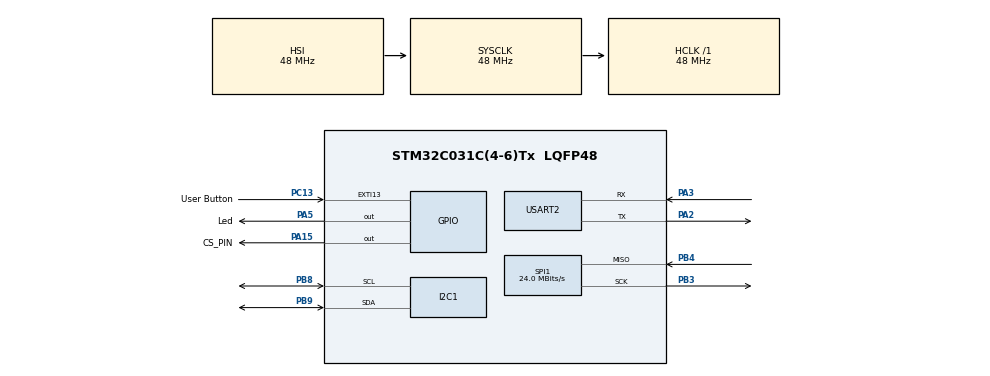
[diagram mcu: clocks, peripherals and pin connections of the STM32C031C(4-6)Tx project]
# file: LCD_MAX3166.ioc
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I2C1.Timing=0x20303E5D
Mcu.Family=STM32C0
Mcu.Name=STM32C031C(4-6)Tx
Mcu.Package=LQFP48
NVIC.EXTI4_15_IRQn=true\:0\:0\:false\:false\:true\:true\:true\:true
PA13.Mode=Serial_Wire
PA13.Signal=DEBUG_SWDIO
PA14-BOOT0.Mode=Serial_Wire
PA14-BOOT0.Signal=DEBUG_SWCLK
PA15.GPIO_Label=CS_PIN
PA15.Signal=GPIO_Output
PA2.Mode=Asynchronous
PA2.Signal=USART2_TX
PA3.Mode=Asynchronous
PA3.Signal=USART2_RX
PA5.GPIO_Label=Led
PA5.GPIO_Speed=GPIO_SPEED_FREQ_VERY_HIGH
PA5.PinState=GPIO_PIN_SET
PA5.Signal=GPIO_Output
PB3.Mode=RX_Only_Simplex_Unidirect_Master
PB3.Signal=SPI1_SCK
PB4.Mode=RX_Only_Simplex_Unidirect_Master
PB4.Signal=SPI1_MISO
PB6.Signal=USART1_TX
PB7.Signal=USART1_RX
PB8.Mode=I2C
PB8.Signal=I2C1_SCL
PB9.Mode=I2C
PB9.Signal=I2C1_SDA
PC13.GPIO_Label=User Button
PC13.Signal=GPXTI13
PC14-OSCX_IN\ (PC14).Mode=LSE-External-Oscillator
PC14-OSCX_IN\ (PC14).Signal=RCC_OSCX_IN
PC15-OSCX_OUT\ (PC15).Mode=LSE-External-Oscillator
PC15-OSCX_OUT\ (PC15).Signal=RCC_OSCX_OUT
PF0-OSC_IN\ (PF0).Mode=HSE-External-Oscillator
PF0-OSC_IN\ (PF0).Signal=RCC_OSC_IN
PF1-OSC_OUT\ (PF1).Mode=HSE-External-Oscillator
PF1-OSC_OUT\ (PF1).Signal=RCC_OSC_OUT
ProjectManager.HeapSize=0x200
ProjectManager.StackSize=0x400
ProjectManager.TargetToolchain=STM32CubeIDE
RCC.ADCFreq_Value=48000000
RCC.AHBFreq_Value=48000000
RCC.CortexFreq_Value=48000000
RCC.EXTERNAL_CLOCK_VALUE=12288000
RCC.HCLKFreq_Value=48000000
RCC.HSE_VALUE=48000000
RCC.HSISYSCLKDivider=RCC_HSI_DIV1
RCC.HSI_VALUE=48000000
RCC.SYSCLKFreq_VALUE=48000000
SPI1.CalculateBaudRate=24.0 MBits/s
SPI1.Direction=SPI_DIRECTION_2LINES_RXONLY
SPI1.Mode=SPI_MODE_MASTER
SPI1.VirtualType=VM_MASTER
USART2.VirtualMode-Asynchronous=VM_ASYNC
board=NUCLEO-C031C6

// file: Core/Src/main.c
/* USER CODE BEGIN Header */
/**
  ******************************************************************************
  * @file           : main.c
  * @brief          : Main program body
  ******************************************************************************
  * @attention
  *
  * Copyright (c) 2024 STMicroelectronics.
  * All rights reserved.
  *
  * This software is licensed under terms that can be found in the LICENSE file
  * in the root directory of this software component.
  * If no LICENSE file comes with this software, it is provided AS-IS.
  *
  ******************************************************************************
  */
/* USER CODE END Header */
#include "main.h"

/* USER CODE BEGIN Includes */
#include <string.h>
#include <stdio.h>
#include "LCD_I2C.h"
#include "MAX31855.h"

/* USER CODE END Includes */

/* USER CODE BEGIN PD */
#define LCD_ADDRESS 0x20
#define MAX_LENGTH 25
/* USER CODE END PD */

I2C_HandleTypeDef hi2c1;

SPI_HandleTypeDef hspi1;

UART_HandleTypeDef huart2;

/* USER CODE BEGIN PV */
MAX31855_HandleTypeDef max31855;
LCD_HandleTypeDef hlcd;

/* USER CODE END PV */

void SystemClock_Config(void);
static void MX_GPIO_Init(void);
static void MX_I2C1_Init(void);
static void MX_SPI1_Init(void);
static void MX_USART2_UART_Init(void);

int main(void)
{
  /* USER CODE BEGIN 1 */
	char uart_buf[21] = {0};
	int uart_buf_len;

  /* USER CODE END 1 */

  /* MCU Configuration--------------------------------------------------------*/

  /* Reset of all peripherals, Initializes the Flash interface and the Systick. */
  HAL_Init();

  /* Configure the system clock */
  SystemClock_Config();

  /* Initialize all configured peripherals */
  MX_GPIO_Init();
  MX_I2C1_Init();
  MX_SPI1_Init();
  MX_USART2_UART_Init();
  /* USER CODE BEGIN 2 */

	 /* Initialize peripherals
	 * MISO is PB4/D5
	 * CLK is PB3/D3
	 * CS is PB5/D6
	 */
	MAX_Init(&max31855, &hspi1, GPIO_PIN_15, GPIOA);
	LCD_Init(&hlcd, &hi2c1, LCD_ADDRESS);

	uart_buf_len = sprintf(uart_buf, "LCD MAX31866 Test\r\n");
	HAL_UART_Transmit(&huart2, (uint8_t *) uart_buf, uart_buf_len, 100);

	uint32_t celcius = 0;
	uint32_t setTemp = 35;

  /* USER CODE END 2 */

  /* Infinite loop */
  /* USER CODE BEGIN WHILE */
  while (1)
  {
	  celcius = MAX_GetCelcius(&max31855);

	  int tempCel = celcius;
	  uart_buf_len = sprintf(uart_buf, "Temp in C: %d.%d\r\n", tempCel/100, tempCel % 100);
	  HAL_UART_Transmit(&huart2, (uint8_t *) uart_buf, uart_buf_len, 100);

	  snprintf(uart_buf, 21, "Set Temp:%d.00  ", (int) setTemp);
	  LCD_SetCursor(&hlcd, 0, 0);
	  LCD_Print(&hlcd, uart_buf);

	  snprintf(uart_buf, 21, "Current Temp:%d.%d  ", tempCel/100, tempCel % 100);
	  LCD_SetCursor(&hlcd, 0, 1);
	  LCD_Print(&hlcd, uart_buf);

	  if (celcius/100 < setTemp) {
		  HAL_GPIO_WritePin(GPIOA, GPIO_PIN_5, GPIO_PIN_SET);
		  LCD_SetCursor(&hlcd, 0, 2);
		  LCD_Print(&hlcd, "Heat Band Active");
	  }
	  else {
		  HAL_GPIO_WritePin(GPIOA, GPIO_PIN_5, GPIO_PIN_RESET);
		  LCD_SetCursor(&hlcd, 0, 2);
		  LCD_Print(&hlcd, "Heat Band Off   ");
	  }

	  HAL_Delay(10);
    /* USER CODE END WHILE */

  }
}

void SystemClock_Config(void)
{
  RCC_OscInitTypeDef RCC_OscInitStruct = {0};
  RCC_ClkInitTypeDef RCC_ClkInitStruct = {0};

  /** Initializes the RCC Oscillators according to the specified parameters
  * in the RCC_OscInitTypeDef structure.
  */
  RCC_OscInitStruct.OscillatorType = RCC_OSCILLATORTYPE_HSI;
  RCC_OscInitStruct.HSIState = RCC_HSI_ON;
  RCC_OscInitStruct.HSIDiv = RCC_HSI_DIV1;
  RCC_OscInitStruct.HSICalibrationValue = RCC_HSICALIBRATION_DEFAULT;
  if (HAL_RCC_OscConfig(&RCC_OscInitStruct) != HAL_OK)
  {
    Error_Handler();
  }

  /** Initializes the CPU, AHB and APB buses clocks
  */
  RCC_ClkInitStruct.ClockType = RCC_CLOCKTYPE_HCLK|RCC_CLOCKTYPE_SYSCLK
                              |RCC_CLOCKTYPE_PCLK1;
  RCC_ClkInitStruct.SYSCLKSource = RCC_SYSCLKSOURCE_HSI;
  RCC_ClkInitStruct.SYSCLKDivider = RCC_SYSCLK_DIV1;
  RCC_ClkInitStruct.AHBCLKDivider = RCC_HCLK_DIV1;
  RCC_ClkInitStruct.APB1CLKDivider = RCC_APB1_DIV1;

  if (HAL_RCC_ClockConfig(&RCC_ClkInitStruct, FLASH_LATENCY_1) != HAL_OK)
  {
    Error_Handler();
  }
}

static void MX_I2C1_Init(void)
{

  hi2c1.Instance = I2C1;
  hi2c1.Init.Timing = 0x20303E5D;
  hi2c1.Init.OwnAddress1 = 0;
  hi2c1.Init.AddressingMode = I2C_ADDRESSINGMODE_7BIT;
  hi2c1.Init.DualAddressMode = I2C_DUALADDRESS_DISABLE;
  hi2c1.Init.OwnAddress2 = 0;
  hi2c1.Init.OwnAddress2Masks = I2C_OA2_NOMASK;
  hi2c1.Init.GeneralCallMode = I2C_GENERALCALL_DISABLE;
  hi2c1.Init.NoStretchMode = I2C_NOSTRETCH_DISABLE;
  if (HAL_I2C_Init(&hi2c1) != HAL_OK)
  {
    Error_Handler();
  }

  /** Configure Analogue filter
  */
  if (HAL_I2CEx_ConfigAnalogFilter(&hi2c1, I2C_ANALOGFILTER_ENABLE) != HAL_OK)
  {
    Error_Handler();
  }

  /** Configure Digital filter
  */
  if (HAL_I2CEx_ConfigDigitalFilter(&hi2c1, 0) != HAL_OK)
  {
    Error_Handler();
  }

}

static void MX_SPI1_Init(void)
{

  /* SPI1 parameter configuration*/
  hspi1.Instance = SPI1;
  hspi1.Init.Mode = SPI_MODE_MASTER;
  hspi1.Init.Direction = SPI_DIRECTION_2LINES_RXONLY;
  hspi1.Init.DataSize = SPI_DATASIZE_8BIT;
  hspi1.Init.CLKPolarity = SPI_POLARITY_LOW;
  hspi1.Init.CLKPhase = SPI_PHASE_1EDGE;
  hspi1.Init.NSS = SPI_NSS_SOFT;
  hspi1.Init.BaudRatePrescaler = SPI_BAUDRATEPRESCALER_32;
  hspi1.Init.FirstBit = SPI_FIRSTBIT_MSB;
  hspi1.Init.TIMode = SPI_TIMODE_DISABLE;
  hspi1.Init.CRCCalculation = SPI_CRCCALCULATION_DISABLE;
  hspi1.Init.CRCPolynomial = 7;
  hspi1.Init.CRCLength = SPI_CRC_LENGTH_DATASIZE;
  hspi1.Init.NSSPMode = SPI_NSS_PULSE_ENABLE;
  if (HAL_SPI_Init(&hspi1) != HAL_OK)
  {
    Error_Handler();
  }

}

static void MX_USART2_UART_Init(void)
{

  huart2.Instance = USART2;
  huart2.Init.BaudRate = 115200;
  huart2.Init.WordLength = UART_WORDLENGTH_8B;
  huart2.Init.StopBits = UART_STOPBITS_1;
  huart2.Init.Parity = UART_PARITY_NONE;
  huart2.Init.Mode = UART_MODE_TX_RX;
  huart2.Init.HwFlowCtl = UART_HWCONTROL_NONE;
  huart2.Init.OverSampling = UART_OVERSAMPLING_16;
  huart2.Init.OneBitSampling = UART_ONE_BIT_SAMPLE_DISABLE;
  huart2.Init.ClockPrescaler = UART_PRESCALER_DIV1;
  huart2.AdvancedInit.AdvFeatureInit = UART_ADVFEATURE_NO_INIT;
  if (HAL_UART_Init(&huart2) != HAL_OK)
  {
    Error_Handler();
  }

}

static void MX_GPIO_Init(void)
{
  GPIO_InitTypeDef GPIO_InitStruct = {0};

  /* GPIO Ports Clock Enable */
  __HAL_RCC_GPIOC_CLK_ENABLE();
  __HAL_RCC_GPIOF_CLK_ENABLE();
  __HAL_RCC_GPIOA_CLK_ENABLE();
  __HAL_RCC_GPIOB_CLK_ENABLE();

  /*Configure GPIO pin Output Level */
  HAL_GPIO_WritePin(Led_GPIO_Port, Led_Pin, GPIO_PIN_SET);

  /*Configure GPIO pin Output Level */
  HAL_GPIO_WritePin(CS_PIN_GPIO_Port, CS_PIN_Pin, GPIO_PIN_RESET);

  /*Configure GPIO pin : User_Button_Pin */
  GPIO_InitStruct.Pin = User_Button_Pin;
  GPIO_InitStruct.Mode = GPIO_MODE_IT_RISING;
  GPIO_InitStruct.Pull = GPIO_NOPULL;
  HAL_GPIO_Init(User_Button_GPIO_Port, &GPIO_InitStruct);

  /*Configure GPIO pin : Led_Pin */
  GPIO_InitStruct.Pin = Led_Pin;
  GPIO_InitStruct.Mode = GPIO_MODE_OUTPUT_PP;
  GPIO_InitStruct.Pull = GPIO_NOPULL;
  GPIO_InitStruct.Speed = GPIO_SPEED_FREQ_VERY_HIGH;
  HAL_GPIO_Init(Led_GPIO_Port, &GPIO_InitStruct);

  /*Configure GPIO pin : CS_PIN_Pin */
  GPIO_InitStruct.Pin = CS_PIN_Pin;
  GPIO_InitStruct.Mode = GPIO_MODE_OUTPUT_PP;
  GPIO_InitStruct.Pull = GPIO_NOPULL;
  GPIO_InitStruct.Speed = GPIO_SPEED_FREQ_LOW;
  HAL_GPIO_Init(CS_PIN_GPIO_Port, &GPIO_InitStruct);

  /*Configure GPIO pins : PB6 PB7 */
  GPIO_InitStruct.Pin = GPIO_PIN_6|GPIO_PIN_7;
  GPIO_InitStruct.Mode = GPIO_MODE_AF_PP;
  GPIO_InitStruct.Pull = GPIO_NOPULL;
  GPIO_InitStruct.Speed = GPIO_SPEED_FREQ_LOW;
  GPIO_InitStruct.Alternate = GPIO_AF0_USART1;
  HAL_GPIO_Init(GPIOB, &GPIO_InitStruct);

  /* EXTI interrupt init*/
  HAL_NVIC_SetPriority(EXTI4_15_IRQn, 0, 0);
  HAL_NVIC_EnableIRQ(EXTI4_15_IRQn);

}

void Error_Handler(void)
{
  __disable_irq();
  while (1)
  {
  }
}
